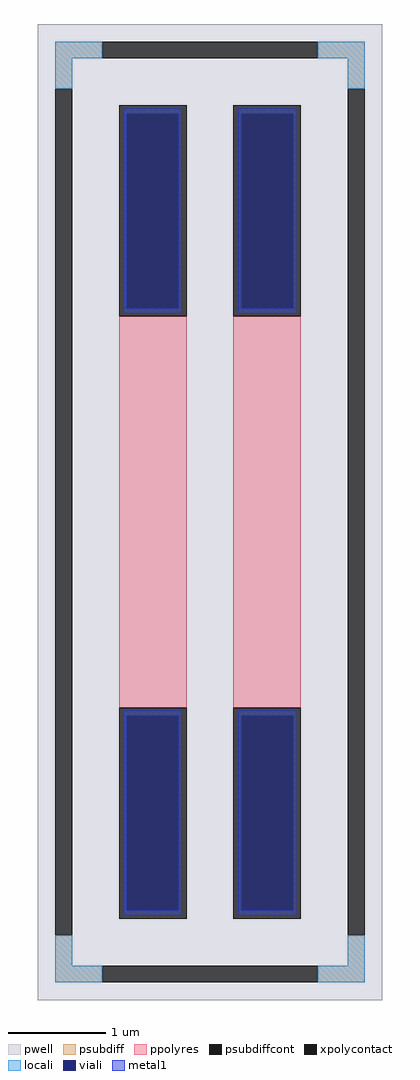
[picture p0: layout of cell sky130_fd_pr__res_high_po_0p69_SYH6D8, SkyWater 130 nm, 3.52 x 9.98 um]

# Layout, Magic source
magic
tech sky130A
magscale 1 2
<< pwell >>
rect -352 -998 352 998
<< psubdiff >>
rect -316 928 -220 962
rect 220 928 316 962
rect -316 866 -282 928
rect 282 866 316 928
rect -316 -928 -282 -866
rect 282 -928 316 -866
rect -316 -962 -220 -928
rect 220 -962 316 -928
<< psubdiffcont >>
rect -220 928 220 962
rect -316 -866 -282 866
rect 282 -866 316 866
rect -220 -962 220 -928
<< xpolycontact >>
rect -186 400 -48 832
rect -186 -832 -48 -400
rect 48 400 186 832
rect 48 -832 186 -400
<< ppolyres >>
rect -186 -400 -48 400
rect 48 -400 186 400
<< locali >>
rect -316 928 -220 962
rect 220 928 316 962
rect -316 866 -282 928
rect 282 866 316 928
rect -316 -928 -282 -866
rect 282 -928 316 -866
rect -316 -962 -220 -928
rect 220 -962 316 -928
<< viali >>
rect -170 417 -64 814
rect 64 417 170 814
rect -170 -814 -64 -417
rect 64 -814 170 -417
<< metal1 >>
rect -176 814 -58 826
rect -176 417 -170 814
rect -64 417 -58 814
rect -176 405 -58 417
rect 58 814 176 826
rect 58 417 64 814
rect 170 417 176 814
rect 58 405 176 417
rect -176 -417 -58 -405
rect -176 -814 -170 -417
rect -64 -814 -58 -417
rect -176 -826 -58 -814
rect 58 -417 176 -405
rect 58 -814 64 -417
rect 170 -814 176 -417
rect 58 -826 176 -814
<< properties >>
string FIXED_BBOX -299 -945 299 945
string gencell sky130_fd_pr__res_high_po_0p69
string library sky130
string parameters w 0.690 l 4 m 1 nx 2 wmin 0.690 lmin 0.50 rho 319.8 val 2.418k dummy 0 dw 0.0 term 194.82 sterm 0.0 caplen 0 guard 1 glc 1 grc 1 gtc 1 gbc 1 compatible {sky130_fd_pr__res_high_po_0p35  sky130_fd_pr__res_high_po_0p69 sky130_fd_pr__res_high_po_1p41  sky130_fd_pr__res_high_po_2p85 sky130_fd_pr__res_high_po_5p73} snake 0 full_metal 1 wmax 0.690 n_guard 0 hv_guard 0 vias 1 viagb 0 viagt 0 viagl 0 viagr 0
string sky130_fd_pr__res_high_po_0p69_SYH6D8 parameters
<< end >>
